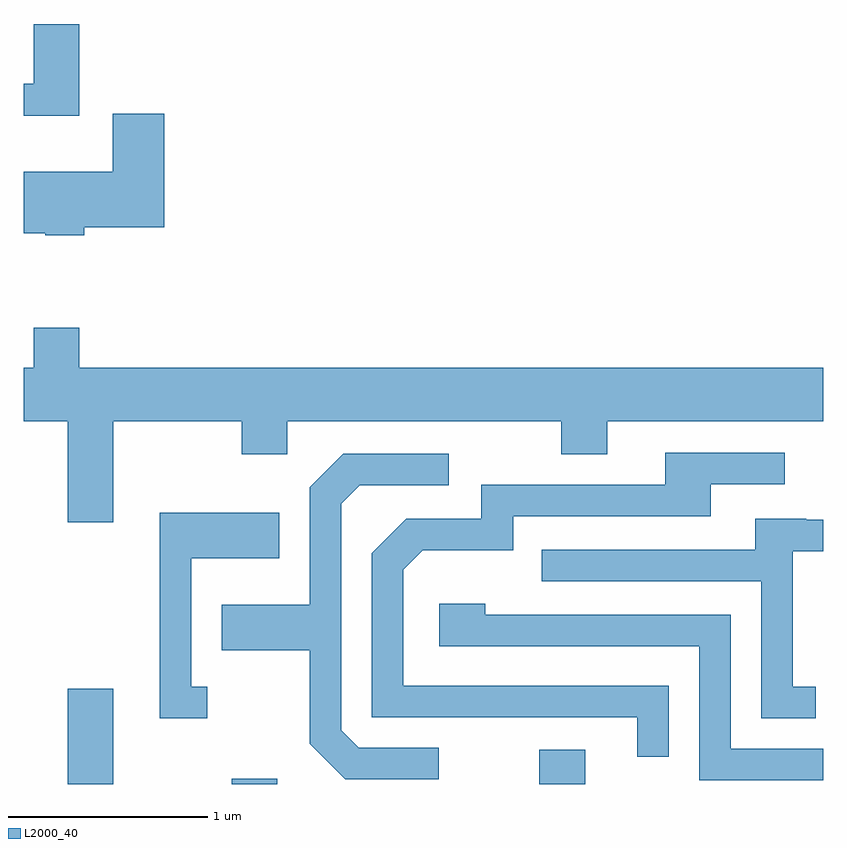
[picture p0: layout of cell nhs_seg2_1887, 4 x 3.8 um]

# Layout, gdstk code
import gdstk
lib = gdstk.Library(unit=1e-6, precision=1e-09)
def R(c, l, rs):  # rectangles x0, y0, x1, y1
    for r in rs: c.add(gdstk.rectangle(r[:2], r[2:], *l))
def P(c, l, *ps):  # polygons
    for p in ps: c.add(gdstk.Polygon(p, *l))
L2000_40 = (2000, 40)

nhs_seg2_1887 = lib.new_cell('nhs_seg2_1887')
R(nhs_seg2_1887, L2000_40, [(239.831,1079.802,240.059,1080.279), (240.651,1079.802,240.879,1079.829), (242.191,1079.802,242.419,1079.974)])
P(nhs_seg2_1887, L2000_40, [(239.889,1083.604),(239.661,1083.604),(239.661,1083.304),(239.611,1083.304),(239.611,1083.146),(239.889,1083.146)],
  [(239.914,1082.586),(240.314,1082.586),(240.314,1083.154),(240.056,1083.154),(240.056,1082.864),(239.611,1082.864),(239.611,1082.556),(239.72,1082.556),(239.72,1082.546),(239.914,1082.546)],
  [(240.059,1081.616),(240.701,1081.616),(240.701,1081.451),(240.929,1081.451),(240.929,1081.616),(242.301,1081.616),(242.301,1081.451),(242.529,1081.451),(242.529,1081.616),(243.611,1081.616),(243.611,1081.884),(239.889,1081.884),(239.889,1082.084),(239.661,1082.084),(239.661,1081.884),(239.611,1081.884),(239.611,1081.616),(239.831,1081.616),(239.831,1081.111),(240.059,1081.111)],
  [(242.839,1080.294),(241.509,1080.294),(241.509,1080.874),(241.607,1080.971),(242.059,1080.971),(242.059,1081.141),(243.049,1081.141),(243.049,1081.301),(243.418,1081.301),(243.418,1081.459),(242.821,1081.459),(242.821,1081.299),(241.901,1081.299),(241.901,1081.129),(241.524,1081.129),(241.351,1080.957),(241.351,1080.136),(242.681,1080.136),(242.681,1079.938),(242.839,1079.938)],
  [(241.688,1079.984),(241.287,1079.984),(241.199,1080.072),(241.199,1081.204),(241.292,1081.296),(241.738,1081.296),(241.738,1081.454),(241.209,1081.454),(241.041,1081.287),(241.041,1080.699),(240.601,1080.699),(240.601,1080.471),(241.041,1080.471),(241.041,1080.004),(241.219,1079.826),(241.688,1079.826)],
  [(240.528,1080.289),(240.449,1080.289),(240.449,1080.931),(240.889,1080.931),(240.889,1081.159),(240.291,1081.159),(240.291,1080.131),(240.528,1080.131)],
  [(243.573,1080.289),(243.459,1080.289),(243.459,1080.966),(243.611,1080.966),(243.611,1081.124),(243.525,1081.124),(243.525,1081.129),(243.271,1081.129),(243.271,1080.974),(242.203,1080.974),(242.203,1080.816),(243.301,1080.816),(243.301,1080.131),(243.573,1080.131)],
  [(243.611,1079.979),(243.149,1079.979),(243.149,1080.649),(241.919,1080.649),(241.919,1080.704),(241.691,1080.704),(241.691,1080.491),(242.991,1080.491),(242.991,1079.821),(243.611,1079.821)])

lib.write_gds('nhs_seg2_1887.gds')
